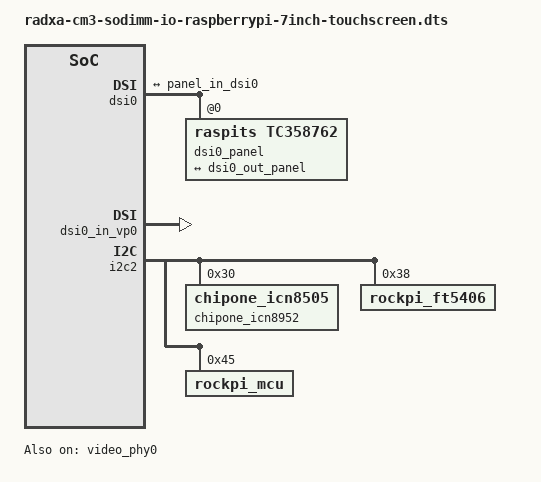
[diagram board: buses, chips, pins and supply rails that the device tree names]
/dts-v1/;
/plugin/;

#include <dt-bindings/display/rockchip_vop.h>

/ {
	metadata {
		title = "Enable Raspiberry Pi 7-inch Touchscreen";
		compatible = "radxa,cm3s-io", "radxa,radxa-cm3-sodimm-io";
		category = "display";
		description = "Enable Raspiberry Pi 7-inch Touchscreen.";
	};
};

&video_phy0 {
	status = "okay";
};

&dsi0 {
	status = "okay";
	#address-cells = <1>;
	#size-cells = <0>;

	dsi0_panel: dsi-panel@0 {
		compatible = "raspits,tc358762";
		reg = <0x0>;
		status = "okay";

		ports {
			#address-cells = <1>;
			#size-cells = <0>;

			port@0 {
				reg = <0>;

				panel_in_dsi0: endpoint {
					remote-endpoint = <&dsi0_out_panel>;
				};
			};
		};
	};

	ports {
		#address-cells = <1>;
		#size-cells = <0>;

		port@1 {
			reg = <1>;
			#address-cells = <1>;
			#size-cells = <0>;

			dsi0_out_panel: endpoint@0 {
				reg = <0>;
				remote-endpoint = <&panel_in_dsi0>;
			};
		};
	};
};

&dsi0_panel {
	status = "okay";
};

&dsi0_in_vp0 {
	status = "okay";
};

&dsi0_in_vp1 {
	status = "disabled";
};

&route_dsi0 {
	status = "disabled";
};

&i2c2 {
	status = "okay";
	pinctrl-0 = <&i2c2m1_xfer>;
	#address-cells = <1>;
	#size-cells = <0>;

	chipone_icn8952: chipone_icn8952@30 {
		compatible = "chipone_icn8505";
		reg = <0x30>;
		status = "okay";
	};

	rockpi_ft5406: rockpi_ft5406@38 {
		compatible = "rockpi_ft5406";
		reg = <0x38>;
		status = "okay";
	};

	rockpi_mcu: rockpi-mcu@45 {
		compatible = "rockpi_mcu";
		reg = <0x45>;
		status = "okay";
	};
};

&vp0 {
	rockchip,plane-mask = <(1 << ROCKCHIP_VOP2_CLUSTER0 | 1 << ROCKCHIP_VOP2_ESMART0 | 1 << ROCKCHIP_VOP2_SMART0)>;
	rockchip,primary-plane = <ROCKCHIP_VOP2_SMART0>;
};

&hdmi{
	status = "disabled";
};

&hdmi_in_vp0 {
	status = "disabled";
};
